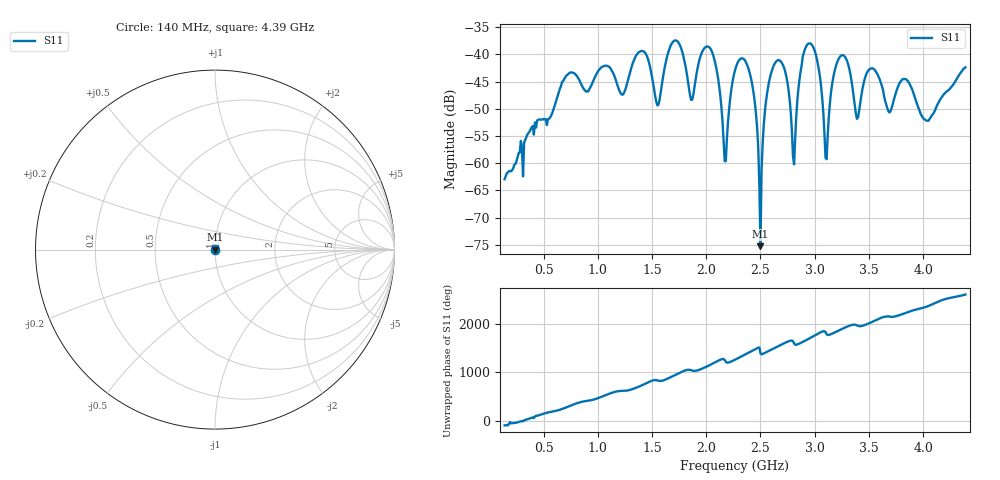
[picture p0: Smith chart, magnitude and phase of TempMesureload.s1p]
! 140 4400 10
# MHz S MA R 50.0
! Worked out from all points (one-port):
!   426 points, 140 MHz to 4.39 GHz, reference 50 ohm
!   lowest |S11| = -75.2 dB at 2.5 GHz (marker M1), VSWR 1.00, Z = 50 - j0.0124 ohm
!   |S11| at or under -10 dB: start of sweep to end of sweep
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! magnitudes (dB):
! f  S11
! 140 MHz  -62.9
! 680 MHz  -44.9
! 1.08 GHz  -42.1
! 1.21 GHz  -47.1
! 1.41 GHz  -39.4
! 1.55 GHz  -49.4
! 1.74 GHz  -37.7
! 1.86 GHz  -48.4
! 2.05 GHz  -39.4
! 2.17 GHz  -59.6
! 2.27 GHz  -42.6
! 2.41 GHz  -44.2
! 2.5 GHz  -75.2
! 2.56 GHz  -47.3
! 2.64 GHz  -41.4
! 2.73 GHz  -43.3
! 2.8 GHz  -58.8
! 2.93 GHz  -38.2
! 3.03 GHz  -41.9
! 3.1 GHz  -59.0
! 3.21 GHz  -41.3
! 3.33 GHz  -43.7
! 3.39 GHz  -51.9
! 3.51 GHz  -42.7
! 3.69 GHz  -50.7
! 3.86 GHz  -44.9
! 4.04 GHz  -52.2
! 4.39 GHz  -42.4
